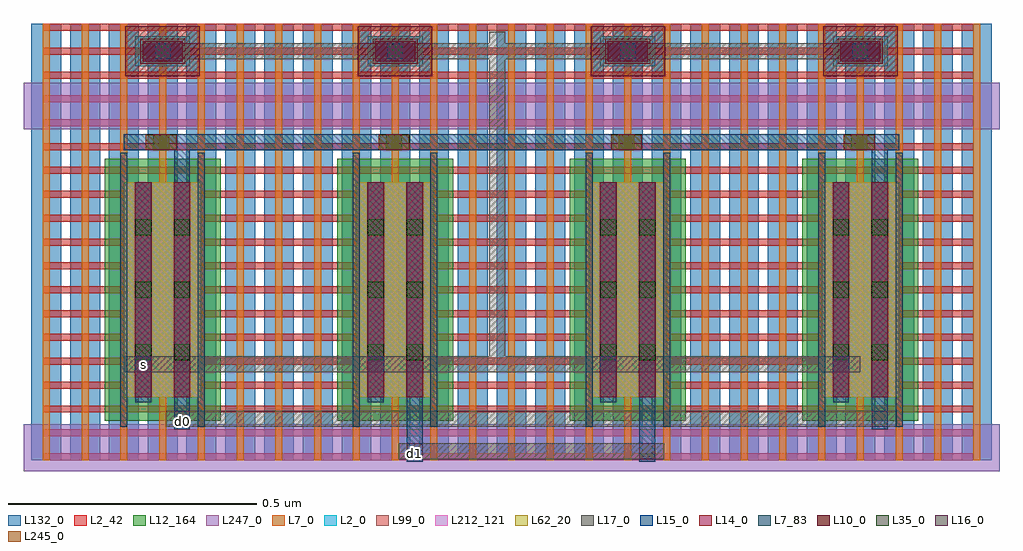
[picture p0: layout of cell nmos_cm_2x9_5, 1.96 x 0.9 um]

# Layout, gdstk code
import gdstk
lib = gdstk.Library(unit=1e-6, precision=1e-12)
def R(c, l, rs):  # rectangles x0, y0, x1, y1
    for r in rs: c.add(gdstk.rectangle(r[:2], r[2:], *l))
def A(c, l, x, y, w, h, nx, ny, dx, dy):  # array of equal rectangles
    R(c, l, [(x+i*dx, y+j*dy, x+i*dx+w, y+j*dy+h) for i in range(nx) for j in range(ny)])
L2_0 = (2, 0)
L2_42 = (2, 42)
L7_0 = (7, 0)
L7_83 = (7, 83)
L10_0 = (10, 0)
L12_164 = (12, 164)
L14_0 = (14, 0)
L15_0 = (15, 0)
L16_0 = (16, 0)
L17_0 = (17, 0)
L35_0 = (35, 0)
L62_20 = (62, 20)
L99_0 = (99, 0)
L132_0 = (132, 0)
L212_121 = (212, 121)
L245_0 = (245, 0)
L247_0 = (247, 0)

nmos_cm_2x9_5 = lib.new_cell('nmos_cm_2x9_5')
A(nmos_cm_2x9_5, L2_0, 0.186, 0.127, 0.156, 0.432, 4, 1, 0.468, 0)
A(nmos_cm_2x9_5, L2_0, 0.209, 0.793, 0.11, 0.06, 4, 1, 0.468, 0)
A(nmos_cm_2x9_5, L2_42, 0.023, 0, 1.872, 0.014, 1, 19, 0, 0.048)
A(nmos_cm_2x9_5, L7_0, 0.023, 0, 0.014, 0.878, 25, 1, 0.078, 0)
R(nmos_cm_2x9_5, L7_83, [(0.179,0.067,0.193,0.619), (0.335,0.067,0.349,0.619), (0.647,0.067,0.661,0.619), (0.803,0.067,0.817,0.619), (1.115,0.067,1.129,0.619), (1.271,0.067,1.285,0.619), (1.583,0.067,1.597,0.619), (1.739,0.067,1.753,0.619)])
A(nmos_cm_2x9_5, L10_0, 0.189, 0.773, 0.15, 0.1, 4, 1, 0.468, 0)
A(nmos_cm_2x9_5, L12_164, 0.147, 0.079, 0.234, 0.528, 4, 1, 0.468, 0)
A(nmos_cm_2x9_5, L14_0, 0.224, 0.803, 0.08, 0.04, 4, 1, 0.468, 0)
R(nmos_cm_2x9_5, L14_0, [(0.208,0.127,0.242,0.559), (0.286,0.127,0.32,0.559), (0.676,0.127,0.71,0.559), (0.754,0.127,0.788,0.559), (1.144,0.127,1.178,0.559), (1.222,0.127,1.256,0.559), (1.612,0.127,1.646,0.559), (1.69,0.127,1.724,0.559)])
A(nmos_cm_2x9_5, L15_0, 0.186, 0.624, 0.156, 0.032, 4, 1, 0.468, 0)
A(nmos_cm_2x9_5, L15_0, 0.224, 0.807, 0.08, 0.032, 4, 1, 0.468, 0)
R(nmos_cm_2x9_5, L15_0, [(0.755,-0.003,0.787,0.122), (1.223,-0.003,1.255,0.122), (0.287,0.062,0.319,0.122), (1.691,0.062,1.723,0.122), (0.209,0.117,0.241,0.559), (0.287,0.117,0.319,0.559), (0.677,0.117,0.709,0.559), (0.755,0.117,0.787,0.559), (1.145,0.117,1.177,0.559), (1.223,0.117,1.255,0.559), (1.613,0.117,1.645,0.559), (1.691,0.117,1.723,0.559), (0.287,0.558,0.319,0.656), (1.691,0.558,1.723,0.656), (0.186,0.624,1.59,0.656)])
A(nmos_cm_2x9_5, L16_0, 0.209, 0.177, 0.032, 0.032, 4, 1, 0.468, 0)
A(nmos_cm_2x9_5, L16_0, 0.248, 0.807, 0.032, 0.032, 4, 1, 0.468, 0)
R(nmos_cm_2x9_5, L16_0, [(0.755,0.002,0.787,0.034), (1.223,0.002,1.255,0.034), (0.287,0.067,0.319,0.099), (1.691,0.067,1.723,0.099)])
A(nmos_cm_2x9_5, L17_0, 0.186, 0.177, 0.078, 0.032, 4, 1, 0.468, 0)
A(nmos_cm_2x9_5, L17_0, 0.224, 0.807, 0.08, 0.032, 4, 1, 0.468, 0)
R(nmos_cm_2x9_5, L17_0, [(0.739,0.002,1.273,0.034), (0.271,0.067,1.741,0.099), (0.186,0.177,1.59,0.209), (0.921,0.177,0.953,0.862), (0.264,0.807,1.668,0.839), (0.342,0.807,1.044,0.839)])
A(nmos_cm_2x9_5, L35_0, 0.209, 0.201, 0.032, 0.032, 1, 3, 0, 0.126)
A(nmos_cm_2x9_5, L35_0, 0.287, 0.201, 0.032, 0.032, 1, 3, 0, 0.126)
A(nmos_cm_2x9_5, L35_0, 0.677, 0.201, 0.032, 0.032, 1, 3, 0, 0.126)
A(nmos_cm_2x9_5, L35_0, 0.755, 0.201, 0.032, 0.032, 1, 3, 0, 0.126)
A(nmos_cm_2x9_5, L35_0, 1.145, 0.201, 0.032, 0.032, 1, 3, 0, 0.126)
A(nmos_cm_2x9_5, L35_0, 1.223, 0.201, 0.032, 0.032, 1, 3, 0, 0.126)
A(nmos_cm_2x9_5, L35_0, 1.613, 0.201, 0.032, 0.032, 1, 3, 0, 0.126)
A(nmos_cm_2x9_5, L35_0, 1.691, 0.201, 0.032, 0.032, 1, 3, 0, 0.126)
A(nmos_cm_2x9_5, L35_0, 0.2455, 0.624, 0.032, 0.032, 4, 1, 0.468, 0)
A(nmos_cm_2x9_5, L35_0, 0.248, 0.807, 0.032, 0.032, 4, 1, 0.468, 0)
A(nmos_cm_2x9_5, L62_20, 0.186, 0.127, 0.156, 0.432, 4, 1, 0.468, 0)
A(nmos_cm_2x9_5, L99_0, 0.186, 0.127, 0.156, 0.432, 4, 1, 0.468, 0)
A(nmos_cm_2x9_5, L99_0, 0.219, 0.798, 0.09, 0.05, 4, 1, 0.468, 0)
A(nmos_cm_2x9_5, L132_0, 0, 0, 0.06, 0.878, 25, 1, 0.078, 0)
A(nmos_cm_2x9_5, L212_121, 0.186, 0.127, 0.156, 0.432, 4, 1, 0.468, 0)
A(nmos_cm_2x9_5, L245_0, 0.2305, 0.625, 0.062, 0.03, 4, 1, 0.468, 0)
A(nmos_cm_2x9_5, L247_0, -0.016, -0.022, 0.56, 0.094, 4, 2, 0.468, 0.688)
nmos_cm_2x9_5.add(gdstk.Label('d0', (0.303,0.078), layer=15, texttype=20))
nmos_cm_2x9_5.add(gdstk.Label('d1', (0.771,0.013), layer=15, texttype=20))
nmos_cm_2x9_5.add(gdstk.Label('s', (0.225,0.193), layer=15, texttype=20))

lib.write_gds('nmos_cm_2x9_5.gds')
